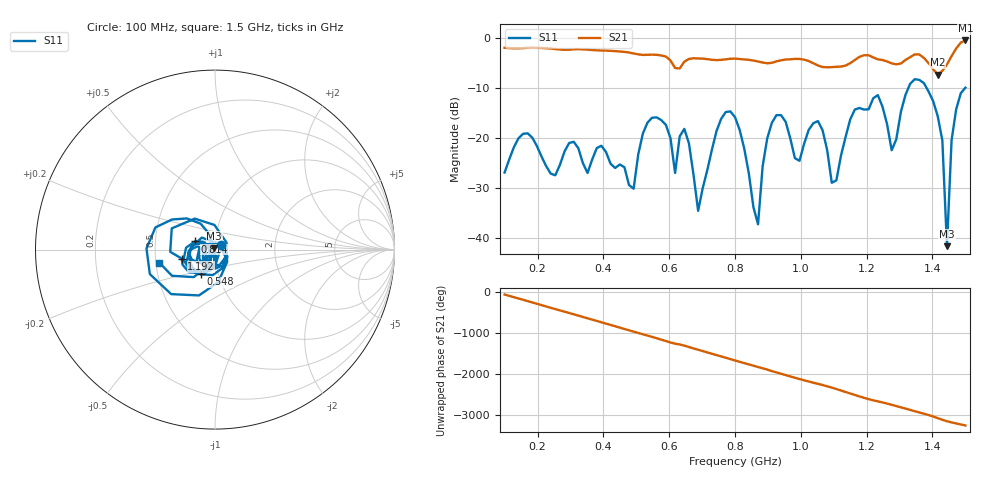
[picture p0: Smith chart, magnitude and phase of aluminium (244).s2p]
! NanoVNA-App
! Date: 2025-09-25 14:57:11
! Start: 100MHz Stop: 1,5GHz Points: 101
! S-Parameter data: F S11 S21 S12 S22
# Hz S RI R 50
!  Frequency  S11_Real  S11_Imag  S21_Real  S21_Imag  S12_Real  S12_Imag  S22_Real  S22_Imag
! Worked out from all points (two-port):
!   101 points, 100 MHz to 1.5 GHz, reference 50 ohm
!   highest |S21| = -0.45 dB at 1.5 GHz (marker M1); lowest = -7.3 dB at 1.416 GHz (marker M2)
!   |S21| within 3 dB of the highest: start of sweep to 574.7 MHz; 1.459 GHz to end of sweep (the widest 2 of 4)
!   lowest |S11| = -41.7 dB at 1.444 GHz (marker M3), VSWR 1.02, Z = 49.6 + j0.706 ohm
!   |S11| at or under -10 dB: start of sweep to 1.327 GHz; 1.382 GHz to 1.499 GHz (116.8 MHz wide, 8.11 % of centre)
!   S12 and S22 are empty: the file has one direction only
!   S11 on the Smith chart (normalised r, x): 100 MHz: 1.07, +0.06; 548 MHz: 0.82, -0.23; 814 MHz: 0.80, +0.07; 1.192 GHz: 0.68, -0.07; 1.5 GHz: 0.52, -0.08
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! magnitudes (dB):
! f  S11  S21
! 100 MHz  -27.0  -1.9
! 338 MHz  -25.1  -2.2
! 492 MHz  -30.2  -3.1
! 548 MHz  -16.0  -3.3
! 576 MHz  -16.4  -3.5
! 618 MHz  -27.0  -6.0
! 646 MHz  -18.2  -4.7
! 688 MHz  -34.6  -4.1
! 800 MHz  -15.8  -4.1
! 814 MHz  -18.4  -4.2
! 870 MHz  -37.3  -4.7
! 912 MHz  -17.0  -4.9
! 1.038 GHz  -17.1  -5.0
! 1.094 GHz  -29.0  -5.8
! 1.192 GHz  -14.3  -3.4
! 1.276 GHz  -22.5  -5.0
! 1.346 GHz  -8.2  -3.3
! 1.416 GHz  -15.7  -7.3
! 1.43 GHz  -20.5  -6.5
! 1.444 GHz  -41.7  -5.3
! 1.458 GHz  -20.5  -3.6
! 1.5 GHz  -9.9  -0.4
